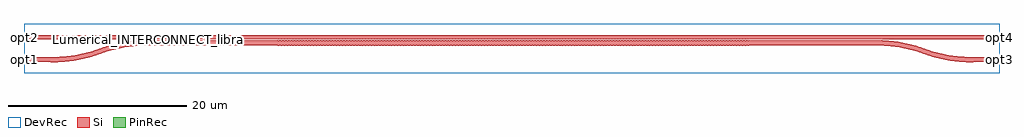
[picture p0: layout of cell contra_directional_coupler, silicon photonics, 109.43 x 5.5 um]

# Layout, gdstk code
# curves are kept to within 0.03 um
import gdstk
lib = gdstk.Library(unit=1e-6, precision=1e-09)
def R(c, l, rs):  # rectangles x0, y0, x1, y1
    for r in rs: c.add(gdstk.rectangle(r[:2], r[2:], *l))
def A(c, l, x, y, w, h, nx, ny, dx, dy):  # array of equal rectangles
    R(c, l, [(x+i*dx, y+j*dy, x+i*dx+w, y+j*dy+h) for i in range(nx) for j in range(ny)])
def P(c, l, *ps):  # polygons
    for p in ps: c.add(gdstk.Polygon(p, *l))
Si = (1, 0)
PinRec = (1, 10)
DevRec = (68, 0)

contra_directional_coupl = lib.new_cell('contra_directional_coupler')
A(contra_directional_coupl, Si, 34.612, -0.643, 0.162, 0.305, 39, 1, 0.325, 0)
A(contra_directional_coupl, Si, 30.062, -0.642, 0.162, 0.304, 14, 1, 0.325, 0)
A(contra_directional_coupl, Si, 47.287, -0.642, 0.162, 0.304, 14, 1, 0.325, 0)
A(contra_directional_coupl, Si, 26.487, -0.641, 0.162, 0.303, 11, 1, 0.325, 0)
A(contra_directional_coupl, Si, 51.837, -0.641, 0.162, 0.303, 11, 1, 0.325, 0)
A(contra_directional_coupl, Si, 23.887, -0.64, 0.162, 0.302, 8, 1, 0.325, 0)
A(contra_directional_coupl, Si, 55.412, -0.64, 0.162, 0.302, 8, 1, 0.325, 0)
A(contra_directional_coupl, Si, 21.287, -0.639, 0.162, 0.301, 8, 1, 0.325, 0)
A(contra_directional_coupl, Si, 58.012, -0.639, 0.162, 0.301, 8, 1, 0.325, 0)
A(contra_directional_coupl, Si, 19.012, -0.638, 0.162, 0.3, 7, 1, 0.325, 0)
A(contra_directional_coupl, Si, 60.612, -0.638, 0.162, 0.3, 7, 1, 0.325, 0)
A(contra_directional_coupl, Si, 16.737, -0.637, 0.162, 0.299, 7, 1, 0.325, 0)
A(contra_directional_coupl, Si, 62.887, -0.637, 0.162, 0.299, 7, 1, 0.325, 0)
A(contra_directional_coupl, Si, 14.462, -0.636, 0.162, 0.298, 7, 1, 0.325, 0)
A(contra_directional_coupl, Si, 65.162, -0.636, 0.162, 0.298, 7, 1, 0.325, 0)
A(contra_directional_coupl, Si, 12.512, -0.635, 0.162, 0.297, 6, 1, 0.325, 0)
A(contra_directional_coupl, Si, 67.437, -0.635, 0.162, 0.297, 6, 1, 0.325, 0)
A(contra_directional_coupl, Si, 10.237, -0.634, 0.162, 0.296, 7, 1, 0.325, 0)
A(contra_directional_coupl, Si, 69.387, -0.634, 0.162, 0.296, 7, 1, 0.325, 0)
A(contra_directional_coupl, Si, 8.287, -0.633, 0.162, 0.295, 6, 1, 0.325, 0)
A(contra_directional_coupl, Si, 71.662, -0.633, 0.162, 0.295, 6, 1, 0.325, 0)
A(contra_directional_coupl, Si, 6.337, -0.632, 0.162, 0.294, 6, 1, 0.325, 0)
A(contra_directional_coupl, Si, 73.612, -0.632, 0.162, 0.294, 6, 1, 0.325, 0)
A(contra_directional_coupl, Si, 4.062, -0.631, 0.162, 0.293, 7, 1, 0.325, 0)
A(contra_directional_coupl, Si, 75.562, -0.631, 0.162, 0.293, 7, 1, 0.325, 0)
A(contra_directional_coupl, Si, 2.112, -0.63, 0.162, 0.292, 6, 1, 0.325, 0)
A(contra_directional_coupl, Si, 77.837, -0.63, 0.162, 0.292, 6, 1, 0.325, 0)
A(contra_directional_coupl, Si, 0.162, -0.629, 0.162, 0.291, 6, 1, 0.325, 0)
A(contra_directional_coupl, Si, 79.787, -0.629, 0.162, 0.291, 5, 1, 0.325, 0)
A(contra_directional_coupl, Si, 0.324, -0.607, 0.163, 0.269, 6, 1, 0.325, 0)
A(contra_directional_coupl, Si, 79.949, -0.607, 0.163, 0.269, 5, 1, 0.325, 0)
A(contra_directional_coupl, Si, 2.274, -0.606, 0.163, 0.268, 6, 1, 0.325, 0)
A(contra_directional_coupl, Si, 77.999, -0.606, 0.163, 0.268, 6, 1, 0.325, 0)
A(contra_directional_coupl, Si, 4.224, -0.605, 0.163, 0.267, 7, 1, 0.325, 0)
A(contra_directional_coupl, Si, 75.724, -0.605, 0.163, 0.267, 7, 1, 0.325, 0)
A(contra_directional_coupl, Si, 6.499, -0.604, 0.163, 0.266, 6, 1, 0.325, 0)
A(contra_directional_coupl, Si, 73.774, -0.604, 0.163, 0.266, 6, 1, 0.325, 0)
A(contra_directional_coupl, Si, 8.449, -0.603, 0.163, 0.265, 6, 1, 0.325, 0)
A(contra_directional_coupl, Si, 71.824, -0.603, 0.163, 0.265, 6, 1, 0.325, 0)
A(contra_directional_coupl, Si, 10.399, -0.602, 0.163, 0.264, 7, 1, 0.325, 0)
A(contra_directional_coupl, Si, 69.549, -0.602, 0.163, 0.264, 7, 1, 0.325, 0)
A(contra_directional_coupl, Si, 12.674, -0.601, 0.163, 0.263, 6, 1, 0.325, 0)
A(contra_directional_coupl, Si, 67.599, -0.601, 0.163, 0.263, 6, 1, 0.325, 0)
A(contra_directional_coupl, Si, 14.624, -0.6, 0.163, 0.262, 7, 1, 0.325, 0)
A(contra_directional_coupl, Si, 65.324, -0.6, 0.163, 0.262, 7, 1, 0.325, 0)
A(contra_directional_coupl, Si, 16.899, -0.599, 0.163, 0.261, 7, 1, 0.325, 0)
A(contra_directional_coupl, Si, 63.049, -0.599, 0.163, 0.261, 7, 1, 0.325, 0)
A(contra_directional_coupl, Si, 19.174, -0.598, 0.163, 0.26, 7, 1, 0.325, 0)
A(contra_directional_coupl, Si, 60.774, -0.598, 0.163, 0.26, 7, 1, 0.325, 0)
A(contra_directional_coupl, Si, 21.449, -0.597, 0.163, 0.259, 8, 1, 0.325, 0)
A(contra_directional_coupl, Si, 58.174, -0.597, 0.163, 0.259, 8, 1, 0.325, 0)
A(contra_directional_coupl, Si, 24.049, -0.596, 0.163, 0.258, 8, 1, 0.325, 0)
A(contra_directional_coupl, Si, 55.574, -0.596, 0.163, 0.258, 8, 1, 0.325, 0)
A(contra_directional_coupl, Si, 26.649, -0.595, 0.163, 0.257, 11, 1, 0.325, 0)
A(contra_directional_coupl, Si, 51.999, -0.595, 0.163, 0.257, 11, 1, 0.325, 0)
A(contra_directional_coupl, Si, 30.224, -0.594, 0.163, 0.256, 14, 1, 0.325, 0)
A(contra_directional_coupl, Si, 47.449, -0.594, 0.163, 0.256, 14, 1, 0.325, 0)
A(contra_directional_coupl, Si, 34.774, -0.593, 0.163, 0.255, 39, 1, 0.325, 0)
A(contra_directional_coupl, Si, 0, -0.338, 0.162, 0.291, 6, 1, 0.325, 0)
A(contra_directional_coupl, Si, 0.162, -0.338, 0.163, 0.269, 6, 1, 0.325, 0)
A(contra_directional_coupl, Si, 1.95, -0.338, 0.162, 0.292, 6, 1, 0.325, 0)
A(contra_directional_coupl, Si, 2.112, -0.338, 0.163, 0.268, 6, 1, 0.325, 0)
A(contra_directional_coupl, Si, 3.9, -0.338, 0.162, 0.293, 7, 1, 0.325, 0)
A(contra_directional_coupl, Si, 4.062, -0.338, 0.163, 0.267, 7, 1, 0.325, 0)
A(contra_directional_coupl, Si, 6.175, -0.338, 0.162, 0.294, 6, 1, 0.325, 0)
A(contra_directional_coupl, Si, 6.337, -0.338, 0.163, 0.266, 6, 1, 0.325, 0)
A(contra_directional_coupl, Si, 8.125, -0.338, 0.162, 0.295, 6, 1, 0.325, 0)
A(contra_directional_coupl, Si, 8.287, -0.338, 0.163, 0.265, 6, 1, 0.325, 0)
A(contra_directional_coupl, Si, 10.075, -0.338, 0.162, 0.296, 7, 1, 0.325, 0)
A(contra_directional_coupl, Si, 10.237, -0.338, 0.163, 0.264, 7, 1, 0.325, 0)
A(contra_directional_coupl, Si, 12.35, -0.338, 0.162, 0.297, 6, 1, 0.325, 0)
A(contra_directional_coupl, Si, 12.512, -0.338, 0.163, 0.263, 6, 1, 0.325, 0)
A(contra_directional_coupl, Si, 14.3, -0.338, 0.162, 0.298, 7, 1, 0.325, 0)
A(contra_directional_coupl, Si, 14.462, -0.338, 0.163, 0.262, 7, 1, 0.325, 0)
A(contra_directional_coupl, Si, 16.575, -0.338, 0.162, 0.299, 7, 1, 0.325, 0)
A(contra_directional_coupl, Si, 16.737, -0.338, 0.163, 0.261, 7, 1, 0.325, 0)
A(contra_directional_coupl, Si, 18.85, -0.338, 0.162, 0.3, 7, 1, 0.325, 0)
A(contra_directional_coupl, Si, 19.012, -0.338, 0.163, 0.26, 7, 1, 0.325, 0)
A(contra_directional_coupl, Si, 21.125, -0.338, 0.162, 0.301, 8, 1, 0.325, 0)
A(contra_directional_coupl, Si, 21.287, -0.338, 0.163, 0.259, 8, 1, 0.325, 0)
A(contra_directional_coupl, Si, 23.725, -0.338, 0.162, 0.302, 8, 1, 0.325, 0)
A(contra_directional_coupl, Si, 23.887, -0.338, 0.163, 0.258, 8, 1, 0.325, 0)
A(contra_directional_coupl, Si, 26.325, -0.338, 0.162, 0.303, 11, 1, 0.325, 0)
A(contra_directional_coupl, Si, 26.487, -0.338, 0.163, 0.257, 11, 1, 0.325, 0)
A(contra_directional_coupl, Si, 29.9, -0.338, 0.162, 0.304, 14, 1, 0.325, 0)
A(contra_directional_coupl, Si, 30.062, -0.338, 0.163, 0.256, 14, 1, 0.325, 0)
A(contra_directional_coupl, Si, 34.45, -0.338, 0.162, 0.305, 39, 1, 0.325, 0)
A(contra_directional_coupl, Si, 34.612, -0.338, 0.163, 0.255, 39, 1, 0.325, 0)
A(contra_directional_coupl, Si, 47.125, -0.338, 0.162, 0.304, 14, 1, 0.325, 0)
A(contra_directional_coupl, Si, 47.287, -0.338, 0.163, 0.256, 14, 1, 0.325, 0)
A(contra_directional_coupl, Si, 51.675, -0.338, 0.162, 0.303, 11, 1, 0.325, 0)
A(contra_directional_coupl, Si, 51.837, -0.338, 0.163, 0.257, 11, 1, 0.325, 0)
A(contra_directional_coupl, Si, 55.25, -0.338, 0.162, 0.302, 8, 1, 0.325, 0)
A(contra_directional_coupl, Si, 55.412, -0.338, 0.163, 0.258, 8, 1, 0.325, 0)
A(contra_directional_coupl, Si, 57.85, -0.338, 0.162, 0.301, 8, 1, 0.325, 0)
A(contra_directional_coupl, Si, 58.012, -0.338, 0.163, 0.259, 8, 1, 0.325, 0)
A(contra_directional_coupl, Si, 60.45, -0.338, 0.162, 0.3, 7, 1, 0.325, 0)
A(contra_directional_coupl, Si, 60.612, -0.338, 0.163, 0.26, 7, 1, 0.325, 0)
A(contra_directional_coupl, Si, 62.725, -0.338, 0.162, 0.299, 7, 1, 0.325, 0)
A(contra_directional_coupl, Si, 62.887, -0.338, 0.163, 0.261, 7, 1, 0.325, 0)
A(contra_directional_coupl, Si, 65, -0.338, 0.162, 0.298, 7, 1, 0.325, 0)
A(contra_directional_coupl, Si, 65.162, -0.338, 0.163, 0.262, 7, 1, 0.325, 0)
A(contra_directional_coupl, Si, 67.275, -0.338, 0.162, 0.297, 6, 1, 0.325, 0)
A(contra_directional_coupl, Si, 67.437, -0.338, 0.163, 0.263, 6, 1, 0.325, 0)
A(contra_directional_coupl, Si, 69.225, -0.338, 0.162, 0.296, 7, 1, 0.325, 0)
A(contra_directional_coupl, Si, 69.387, -0.338, 0.163, 0.264, 7, 1, 0.325, 0)
A(contra_directional_coupl, Si, 71.5, -0.338, 0.162, 0.295, 6, 1, 0.325, 0)
A(contra_directional_coupl, Si, 71.662, -0.338, 0.163, 0.265, 6, 1, 0.325, 0)
A(contra_directional_coupl, Si, 73.45, -0.338, 0.162, 0.294, 6, 1, 0.325, 0)
A(contra_directional_coupl, Si, 73.612, -0.338, 0.163, 0.266, 6, 1, 0.325, 0)
A(contra_directional_coupl, Si, 75.4, -0.338, 0.162, 0.293, 7, 1, 0.325, 0)
A(contra_directional_coupl, Si, 75.562, -0.338, 0.163, 0.267, 7, 1, 0.325, 0)
A(contra_directional_coupl, Si, 77.675, -0.338, 0.162, 0.292, 6, 1, 0.325, 0)
A(contra_directional_coupl, Si, 77.837, -0.338, 0.163, 0.268, 6, 1, 0.325, 0)
A(contra_directional_coupl, Si, 79.625, -0.338, 0.162, 0.291, 5, 1, 0.325, 0)
A(contra_directional_coupl, Si, 79.787, -0.338, 0.163, 0.269, 5, 1, 0.325, 0)
A(contra_directional_coupl, Si, 27.625, 0.047, 0.162, 0.231, 40, 1, 0.325, 0)
A(contra_directional_coupl, Si, 40.95, 0.047, 0.162, 0.231, 40, 1, 0.325, 0)
A(contra_directional_coupl, Si, 21.775, 0.048, 0.162, 0.23, 18, 1, 0.325, 0)
A(contra_directional_coupl, Si, 53.95, 0.048, 0.162, 0.23, 18, 1, 0.325, 0)
A(contra_directional_coupl, Si, 17.225, 0.049, 0.162, 0.229, 14, 1, 0.325, 0)
A(contra_directional_coupl, Si, 59.8, 0.049, 0.162, 0.229, 14, 1, 0.325, 0)
A(contra_directional_coupl, Si, 12.675, 0.05, 0.162, 0.228, 14, 1, 0.325, 0)
A(contra_directional_coupl, Si, 64.35, 0.05, 0.162, 0.228, 14, 1, 0.325, 0)
A(contra_directional_coupl, Si, 8.45, 0.051, 0.162, 0.227, 13, 1, 0.325, 0)
A(contra_directional_coupl, Si, 68.9, 0.051, 0.162, 0.227, 13, 1, 0.325, 0)
A(contra_directional_coupl, Si, 3.9, 0.052, 0.162, 0.226, 14, 1, 0.325, 0)
A(contra_directional_coupl, Si, 73.125, 0.052, 0.162, 0.226, 14, 1, 0.325, 0)
A(contra_directional_coupl, Si, 0, 0.053, 0.162, 0.225, 12, 1, 0.325, 0)
A(contra_directional_coupl, Si, 77.675, 0.053, 0.162, 0.225, 11, 1, 0.325, 0)
A(contra_directional_coupl, Si, 0.162, 0.064, 0.163, 0.214, 12, 1, 0.325, 0)
A(contra_directional_coupl, Si, 77.837, 0.064, 0.163, 0.214, 11, 1, 0.325, 0)
A(contra_directional_coupl, Si, 4.062, 0.065, 0.163, 0.213, 14, 1, 0.325, 0)
A(contra_directional_coupl, Si, 73.287, 0.065, 0.163, 0.213, 14, 1, 0.325, 0)
A(contra_directional_coupl, Si, 8.612, 0.066, 0.163, 0.212, 13, 1, 0.325, 0)
A(contra_directional_coupl, Si, 69.062, 0.066, 0.163, 0.212, 13, 1, 0.325, 0)
A(contra_directional_coupl, Si, 12.837, 0.067, 0.163, 0.211, 14, 1, 0.325, 0)
A(contra_directional_coupl, Si, 64.512, 0.067, 0.163, 0.211, 14, 1, 0.325, 0)
A(contra_directional_coupl, Si, 17.387, 0.068, 0.163, 0.21, 14, 1, 0.325, 0)
A(contra_directional_coupl, Si, 59.962, 0.068, 0.163, 0.21, 14, 1, 0.325, 0)
A(contra_directional_coupl, Si, 21.937, 0.069, 0.163, 0.209, 18, 1, 0.325, 0)
A(contra_directional_coupl, Si, 54.112, 0.069, 0.163, 0.209, 18, 1, 0.325, 0)
A(contra_directional_coupl, Si, 27.787, 0.07, 0.163, 0.208, 81, 1, 0.325, 0)
A(contra_directional_coupl, Si, 0.162, 0.278, 0.162, 0.225, 12, 1, 0.325, 0)
A(contra_directional_coupl, Si, 0.324, 0.278, 0.163, 0.214, 12, 1, 0.325, 0)
A(contra_directional_coupl, Si, 4.062, 0.278, 0.162, 0.226, 14, 1, 0.325, 0)
A(contra_directional_coupl, Si, 4.224, 0.278, 0.163, 0.213, 14, 1, 0.325, 0)
A(contra_directional_coupl, Si, 8.612, 0.278, 0.162, 0.227, 13, 1, 0.325, 0)
A(contra_directional_coupl, Si, 8.774, 0.278, 0.163, 0.212, 13, 1, 0.325, 0)
A(contra_directional_coupl, Si, 12.837, 0.278, 0.162, 0.228, 14, 1, 0.325, 0)
A(contra_directional_coupl, Si, 12.999, 0.278, 0.163, 0.211, 14, 1, 0.325, 0)
A(contra_directional_coupl, Si, 17.387, 0.278, 0.162, 0.229, 14, 1, 0.325, 0)
A(contra_directional_coupl, Si, 17.549, 0.278, 0.163, 0.21, 14, 1, 0.325, 0)
A(contra_directional_coupl, Si, 21.937, 0.278, 0.162, 0.23, 18, 1, 0.325, 0)
A(contra_directional_coupl, Si, 22.099, 0.278, 0.163, 0.209, 18, 1, 0.325, 0)
A(contra_directional_coupl, Si, 27.787, 0.278, 0.162, 0.231, 40, 1, 0.325, 0)
A(contra_directional_coupl, Si, 27.949, 0.278, 0.163, 0.208, 81, 1, 0.325, 0)
A(contra_directional_coupl, Si, 41.112, 0.278, 0.162, 0.231, 40, 1, 0.325, 0)
A(contra_directional_coupl, Si, 54.112, 0.278, 0.162, 0.23, 18, 1, 0.325, 0)
A(contra_directional_coupl, Si, 54.274, 0.278, 0.163, 0.209, 18, 1, 0.325, 0)
A(contra_directional_coupl, Si, 59.962, 0.278, 0.162, 0.229, 14, 1, 0.325, 0)
A(contra_directional_coupl, Si, 60.124, 0.278, 0.163, 0.21, 14, 1, 0.325, 0)
A(contra_directional_coupl, Si, 64.512, 0.278, 0.162, 0.228, 14, 1, 0.325, 0)
A(contra_directional_coupl, Si, 64.674, 0.278, 0.163, 0.211, 14, 1, 0.325, 0)
A(contra_directional_coupl, Si, 69.062, 0.278, 0.162, 0.227, 13, 1, 0.325, 0)
A(contra_directional_coupl, Si, 69.224, 0.278, 0.163, 0.212, 13, 1, 0.325, 0)
A(contra_directional_coupl, Si, 73.287, 0.278, 0.162, 0.226, 14, 1, 0.325, 0)
A(contra_directional_coupl, Si, 73.449, 0.278, 0.163, 0.213, 14, 1, 0.325, 0)
A(contra_directional_coupl, Si, 77.837, 0.278, 0.162, 0.225, 11, 1, 0.325, 0)
A(contra_directional_coupl, Si, 77.999, 0.278, 0.163, 0.214, 11, 1, 0.325, 0)
R(contra_directional_coupl, Si, [(0,-0.618,0.162,-0.338), (81.25,-0.338,81.412,-0.058), (40.625,0.046,40.787,0.278), (-5.5,0.058,0,0.498), (81.25,0.058,81.412,0.278), (81.412,0.058,86.912,0.498), (0,0.278,0.162,0.498), (40.787,0.278,40.949,0.51)])
P(contra_directional_coupl, Si, [(92.144,-2.502),(90.591,-2.423),(89.055,-2.186),(87.798,-1.871),(85.627,-1.157),(84.165,-0.829),(82.927,-0.671),(81.412,-0.618),(81.412,-0.058),(82.716,-0.093),(84.26,-0.277),(85.777,-0.618),(87.957,-1.334),(89.168,-1.638),(90.648,-1.866),(92.412,-1.942),(92.412,-2.502)],
  [(92.412,-2.502),(92.412,-1.942),(95.412,-1.972),(95.412,-2.472)],
  [(95.412,0.028),(86.912,0.058),(86.912,0.498),(95.412,0.528)],
  [(-11,-2.502),(-11,-1.942),(-9.236,-1.866),(-7.756,-1.638),(-6.545,-1.334),(-4.365,-0.618),(-2.848,-0.277),(-1.304,-0.093),(0,-0.058),(0,-0.618),(-1.764,-0.694),(-3.244,-0.922),(-4.455,-1.226),(-6.635,-1.942),(-8.152,-2.283),(-9.696,-2.467)],
  [(-11,-2.502),(-14,-2.472),(-14,-1.972),(-11,-1.942)],
  [(-14,0.028),(-14,0.528),(-5.5,0.498),(-5.5,0.058)])
R(contra_directional_coupl, DevRec, [(-14,-3.722,95.412,1.778)])
contra_directional_coupl.add(gdstk.FlexPath([(-13.99,-2.222),(-14.01,-2.222)], 0.5, ends="flush", simple_path=True, layer=1, datatype=10))  # PinRec
contra_directional_coupl.add(gdstk.FlexPath([(-13.99,0.278),(-14.01,0.278)], 0.5, ends="flush", simple_path=True, layer=1, datatype=10))  # PinRec
contra_directional_coupl.add(gdstk.FlexPath([(95.402,-2.222),(95.422,-2.222)], 0.5, ends="flush", simple_path=True, layer=1, datatype=10))  # PinRec
contra_directional_coupl.add(gdstk.FlexPath([(95.402,0.278),(95.422,0.278)], 0.5, ends="flush", simple_path=True, layer=1, datatype=10))  # PinRec
contra_directional_coupl.add(gdstk.Label('opt1', (-14,-2.222), layer=1, texttype=10))
contra_directional_coupl.add(gdstk.Label('opt2', (-14,0.278), layer=1, texttype=10))
contra_directional_coupl.add(gdstk.Label('opt3', (95.412,-2.222), layer=1, texttype=10))
contra_directional_coupl.add(gdstk.Label('opt4', (95.412,0.278), layer=1, texttype=10))
contra_directional_coupl.add(gdstk.Label('Lumerical_INTERCONNECT_library=Design kits/EBeam', (0,0), layer=68, texttype=0))
contra_directional_coupl.add(gdstk.Label('Component=contra_directional_coupler', (0,0.1), layer=68, texttype=0))

lib.write_gds('contra_directional_coupler.gds')
